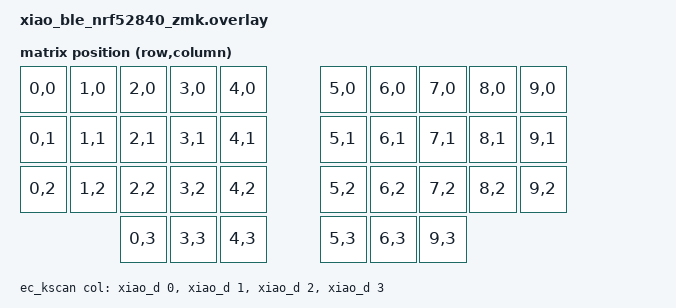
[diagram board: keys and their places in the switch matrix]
/*
 * Copyright (c) 2026 carrefinho
 * SPDX-License-Identifier: MIT
 *
 * Caroline with a Seeed XIAO nRF52840 Plus. 36 EC keys, 4 sense rows x 10 strobed columns, no analog front end.
 * The board's rows are this driver's columns (sense lines, on the SAADC) and
 * its columns are this driver's strobes; the transform below swaps them back.
 *
 * JP1-JP4 must be bridged A-C: each row's left half is tied to its right half
 * on D0-D3, so a line carries ten keys. The ROWn_L_AIN pads (D10-D7) are then
 * open stubs and stay unconfigured.
 *
 *   ROW0 -> D0  P0.02 AIN0     COL0 -> P1.03    COL5 -> P0.09 (NFC1)
 *   ROW1 -> D1  P0.03 AIN1     COL1 -> P1.05    COL6 -> D4  P0.04
 *   ROW2 -> D2  P0.28 AIN4     COL2 -> P1.07    COL7 -> P0.10 (NFC2)
 *   ROW3 -> D3  P0.29 AIN5     COL3 -> P0.19    COL8 -> D5  P0.05
 *                              COL4 -> P0.15    COL9 -> D6  P1.11
 *
 * The P1.03 / P1.07 order on the D10-D7 edge follows the Xiao_nRF52840_Plus
 * symbol and footprint, which is the one place Seeed's wiki picture disagrees
 * with them.
 *
 * THIS BUILDS ON xiao_ble//zmk, the non-Plus board. The extra castellations
 * are plain GPIOs it does not describe, addressed as &gpio0 / &gpio1. Also
 * disabled: uart0 (P1.11/P1.12), i2c1 (P0.04/P0.05), spi2
 * (P1.13-15, the open stubs), Zephyr's adc (this driver owns the SAADC) and
 * the board's battery divider on the same SAADC. The same divider is read by
 * the scan thread instead, through ec_battery below.
 */

#include <dt-bindings/zmk/matrix_transform.h>

&adc { status = "disabled"; };
&vbatt { status = "disabled"; };
&uart0 { status = "disabled"; };
&i2c1 { status = "disabled"; };
&spi2 { status = "disabled"; };

/* COL5 and COL7 are the NFC antenna pins. The MDK startup writes
 * UICR.NFCPINS and resets once, so a fresh XIAO boots twice the first time. */
&uicr {
	nfct-pins-as-gpios;
};

/ {
	chosen {
		zmk,physical-layout = &ec_layout;
		zmk,battery = &ec_battery;
	};

	/* The board's divider (see &vbatt in xiao_ble_zmk.dts), read between
	 * tripwire passes by the scan thread. */
	ec_battery: ec_battery {
		compatible = "zmk,direct-ec-battery";
		ain-channel = <7>;                      /* P0.31 */
		power-gpios = <&gpio0 14 (GPIO_OPEN_DRAIN | GPIO_ACTIVE_LOW)>;
		output-ohms = <510000>;
		full-ohms = <(1000000 + 510000)>;
	};

	ec_kscan: ec_kscan {
		compatible = "zmk,kscan-direct-ec";

		/* Same four pins twice: once as AIN indices, once as GPIOs.
		 * Order must match; the driver checks the correspondence. */
		ain-channels = <0 1 4 5>;               /* ROW0..ROW3 */
		col-gpios
			= <&xiao_d 0 GPIO_ACTIVE_HIGH>      /* ROW0, P0.02 */
			, <&xiao_d 1 GPIO_ACTIVE_HIGH>      /* ROW1, P0.03 */
			, <&xiao_d 2 GPIO_ACTIVE_HIGH>      /* ROW2, P0.28 */
			, <&xiao_d 3 GPIO_ACTIVE_HIGH>      /* ROW3, P0.29 */
			;

		strobe-gpios
			= <&gpio1 3 GPIO_ACTIVE_HIGH>       /* COL0 */
			, <&gpio1 5 GPIO_ACTIVE_HIGH>       /* COL1 */
			, <&gpio1 7 GPIO_ACTIVE_HIGH>       /* COL2 */
			, <&gpio0 19 GPIO_ACTIVE_HIGH>      /* COL3 */
			, <&gpio0 15 GPIO_ACTIVE_HIGH>      /* COL4 */
			, <&gpio0 9 GPIO_ACTIVE_HIGH>       /* COL5, NFC1 */
			, <&xiao_d 4 GPIO_ACTIVE_HIGH>      /* COL6, P0.04 */
			, <&gpio0 10 GPIO_ACTIVE_HIGH>      /* COL7, NFC2 */
			, <&xiao_d 5 GPIO_ACTIVE_HIGH>      /* COL8, P0.05 */
			, <&xiao_d 6 GPIO_ACTIVE_HIGH>      /* COL9, P1.11 */
			;

		/*
		 * Cut from the assembled board, on battery. Raw, a key
		 * pressed alone reads 227-353 over released (median 304). Each
		 * held key takes 5-9 % off the others on its ten-key line: with
		 * the whole top row down Q went 266 -> 147.
		 *
		 * load-comp-scale 3600 was fitted on that ten-key run (the
		 * minimum is broad, 3300-3900): corrected, Q stays at 278-303
		 * from one key held to ten. Compensated lone presses are 247-402
		 * (median 340), so 110 is ~45 % of the weakest key. It also has
		 * to clear the next-row bump, ~7 % of a press (under 30), and
		 * idle noise, ~12 counts peak-to-peak at rest and up to 1.8x
		 * that with a whole row held.
		 */
		press-threshold = <110>;
		release-threshold = <70>;
		load-comp-scale = <3600>;

		/* 250 Hz. See the conf for the pass time. */
		poll-interval-ms = <4>;
	};

	ec_transform: ec_transform {
		compatible = "zmk,matrix-transform";
		columns = <4>;
		rows = <10>;
		/* RC(strobe, sense) = RC(board column, board row) */
		map = <
			RC(0,0) RC(1,0) RC(2,0) RC(3,0) RC(4,0) RC(5,0) RC(6,0) RC(7,0) RC(8,0) RC(9,0)
			RC(0,1) RC(1,1) RC(2,1) RC(3,1) RC(4,1) RC(5,1) RC(6,1) RC(7,1) RC(8,1) RC(9,1)
			RC(0,2) RC(1,2) RC(2,2) RC(3,2) RC(4,2) RC(5,2) RC(6,2) RC(7,2) RC(8,2) RC(9,2)
			RC(0,3)                 RC(3,3) RC(4,3) RC(5,3) RC(6,3)                 RC(9,3)
		>;
	};
};
